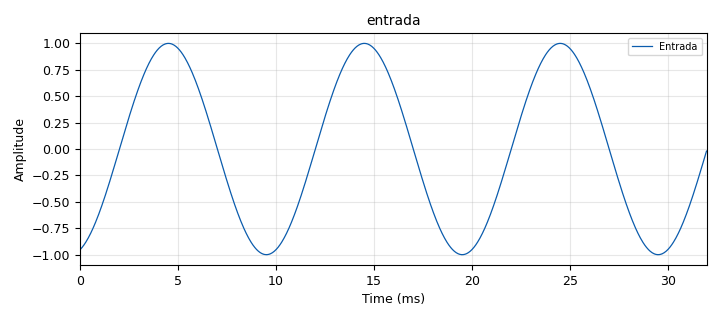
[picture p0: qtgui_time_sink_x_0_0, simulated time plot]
options:
  parameters:
    author: manue
    generate_options: qt_gui
    id: P1Luis
    output_language: python
    title: Not titled yet
  states: {}

blocks:
- name: samp_rate
  id: variable
  parameters:
    value: '32000'
  states: {}
- name: analog_sig_source_x_0
  id: analog_sig_source_x
  parameters:
    amp: '1'
    freq: '100'
    offset: '0'
    phase: '0'
    samp_rate: samp_rate
    type: float
    waveform: analog.GR_SIN_WAVE
  states: {}
- name: epy_block_0
  id: epy_block
  parameters:
    _source_code: |-
      import numpy as np
      from gnuradio import gr
      class blk (gr. sync_block ):
          def __init__ ( self ):
              gr. sync_block . __init__ (
                  self ,
                  name =' Promedios_de_tiempos ',
                  in_sig =[ np. float32 ],
                  out_sig =[ np. float32 , np. float32 , np. float32 , np. float32 , np. float32 ]
              )
              self . acum_anterior = 0
              self . Ntotales = 0
              self . acum_anterior1 = 0
              self . acum_anterior2 = 0
          def work (self , input_items , output_items ):
              x = input_items [0]
              y0 = output_items [0] # Promedio
              y1 = output_items [1] # Media cuadrática
              y2 = output_items [2] # RMS
              y3 = output_items [3] # Potencia promedio
              y4 = output_items [4] # Desviacion estandar

              N = len (x)
              self . Ntotales = self . Ntotales + N

              # Calculo del promedio
              # np.cumsum(x) da un array, no se puede sumar directamente a self.acum_anterior (un número).

              suma_total_parcial = np.sum(x) + self.acum_anterior
              self.acum_anterior = suma_total_parcial
              y0[:] = suma_total_parcial / self.Ntotales

              # Media Cuadrática (promedio de x^2)
              x2 = x*x
              suma_cuadrados_parcial = np.sum(x2) + self.acum_anterior1
              self.acum_anterior1 = suma_cuadrados_parcial
              y1[:] = suma_cuadrados_parcial / self.Ntotales

              # RMS
              y2[:] = np.sqrt(y1)

              # Potencia promedio (que es la media cuadrática, pero ellos la calculan como y2^2, que da lo mismo)
              y3[:] = y2 * y2  # O directamente y1[:]

              # Desviación Estandar (sqrt( promedio( (x - media)^2 ) ) )
              # Nota: La media actual es y0, pero como es un array, debemos usar el último valor calculado.
              media_actual = y0[0] # Tomamos el valor promedio calculado en este bloque
              x3 = (x - media_actual)**2
              suma_var_parcial = np.sum(x3) + self.acum_anterior2
              self.acum_anterior2 = suma_var_parcial
              y4[:] = np.sqrt(suma_var_parcial / self.Ntotales)

              return len(x)
  states: {}
- name: qtgui_number_sink_0
  id: qtgui_number_sink
  parameters:
    graph_type: qtgui.NUM_GRAPH_HORIZ
    name: '"Media"'
    type: float
  states: {}
- name: qtgui_number_sink_0_0
  id: qtgui_number_sink
  parameters:
    graph_type: qtgui.NUM_GRAPH_HORIZ
    name: '"Desviación Estandar"'
    type: float
  states: {}
- name: qtgui_number_sink_0_1
  id: qtgui_number_sink
  parameters:
    graph_type: qtgui.NUM_GRAPH_HORIZ
    name: '"Potencia Promedio"'
    type: float
  states: {}
- name: qtgui_number_sink_0_2
  id: qtgui_number_sink
  parameters:
    graph_type: qtgui.NUM_GRAPH_HORIZ
    name: '"Media Cuadratica"'
    type: float
  states: {}
- name: qtgui_number_sink_0_3
  id: qtgui_number_sink
  parameters:
    graph_type: qtgui.NUM_GRAPH_HORIZ
    name: '"RMS"'
    type: float
  states: {}
- name: qtgui_time_sink_x_0_0
  id: qtgui_time_sink_x
  parameters:
    autoscale: 'True'
    color1: green
    label1: Entrada
    name: entrada
    size: '1024'
    srate: samp_rate
    type: float
  states: {}

connections:
- [analog_sig_source_x_0, '0', epy_block_0, '0']
- [analog_sig_source_x_0, '0', qtgui_time_sink_x_0_0, '0']
- [epy_block_0, '0', qtgui_number_sink_0, '0']
- [epy_block_0, '1', qtgui_number_sink_0_2, '0']
- [epy_block_0, '2', qtgui_number_sink_0_3, '0']
- [epy_block_0, '3', qtgui_number_sink_0_1, '0']
- [epy_block_0, '4', qtgui_number_sink_0_0, '0']

metadata:
  file_format: 1
  grc_version: 3.10.12.0
